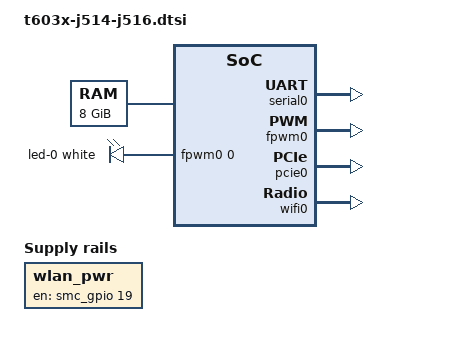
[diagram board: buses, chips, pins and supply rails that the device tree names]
// SPDX-License-Identifier: GPL-2.0+ OR MIT
/*
 * MacBook Pro (14/16-inch, 2023)
 *
 * This file contains the parts common to J514 and J516 devices with t6030,
 * t6031 and t6034.
 *
 * target-type: J514s / J514m / J514c / J516s / J516m / J516c
 *
 * Copyright The Asahi Linux Contributors
 */

/*
 * These models are essentially identical to the previous generations, other
 * than the GPIO indices and using SPMI based USB Type-C port controllers.
 */

#include <dt-bindings/leds/common.h>

/ {
	chassis-type = "laptop";

	aliases {
		bluetooth0 = &bluetooth0;
		serial0 = &serial0;
		wifi0 = &wifi0;
	};

	chosen {
		#address-cells = <2>;
		#size-cells = <2>;
		ranges;

		stdout-path = "serial0";

		framebuffer0: framebuffer@0 {
			compatible = "apple,simple-framebuffer", "simple-framebuffer";
			reg = <0 0 0 0>; /* To be filled by loader */
			/* Format properties will be added by loader */
			status = "disabled";
			power-domains = <&ps_disp_fe>;
		};
	};

	memory@10000000000 {
		device_type = "memory";
		reg = <0x100 0 0x2 0>; /* To be filled by loader */
	};

	led-controller {
		compatible = "pwm-leds";
		led-0 {
			pwms = <&fpwm0 0 40000>;
			function = LED_FUNCTION_KBD_BACKLIGHT;
			color = <LED_COLOR_ID_WHITE>;
			max-brightness = <255>;
			default-state = "keep";
		};
	};

	wlan_pwr: regulator-wlan-pwr {
		compatible = "regulator-fixed";
		enable-active-high;
		gpio = <&smc_gpio 19 GPIO_ACTIVE_HIGH>;
		regulator-boot-on;
		regulator-name = "wlan-pwr";
		startup-delay-us = <100000>;
	};
};

&serial0 {
	status = "okay";
};

&fpwm0 {
	status = "okay";
};

&pcie0 {
	status = "okay";
};

&port00 {
	bus-range = <1 1>;
	vpcie3v3-supply = <&wlan_pwr>;

	wifi0: wifi@0,0 {
		compatible = "pci14e4,4434";
		reg = <0x10000 0x0 0x0 0x0 0x0>;
		local-mac-address = [00 00 00 00 00 00];
		apple,antenna-sku = "XX";
	};

	bluetooth0: bluetooth@0,1 {
		compatible = "pci14e4,5f72";
		reg = <0x10100 0x0 0x0 0x0 0x0>;
		local-bd-address = [00 00 00 00 00 00];
	};
};
